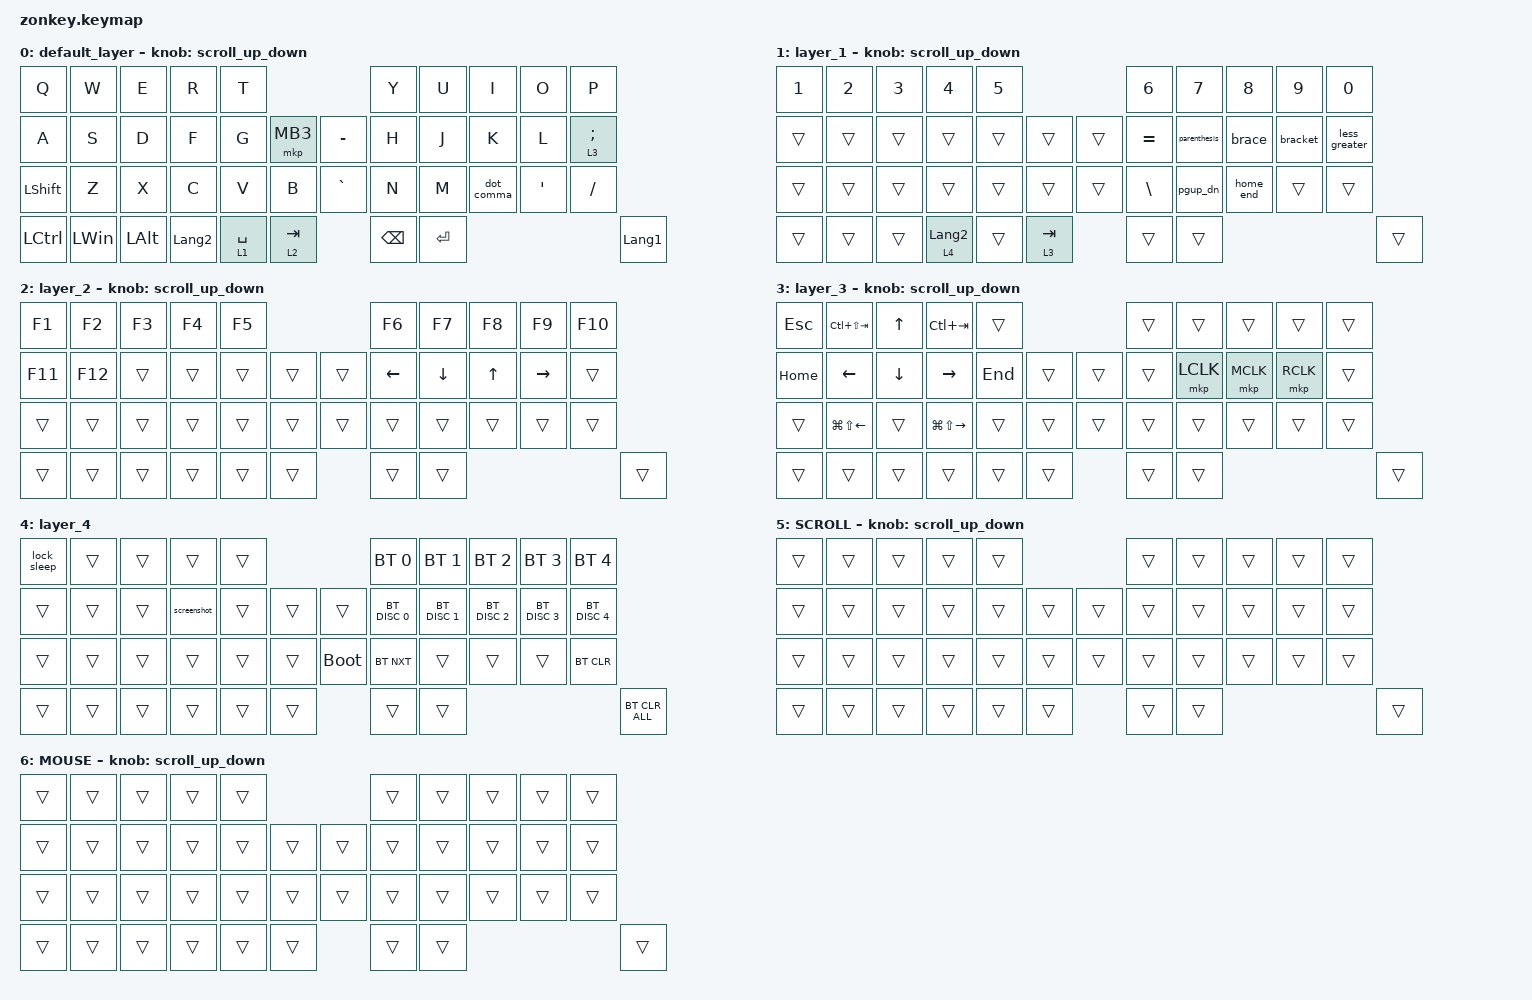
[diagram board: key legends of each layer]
#include <behaviors.dtsi>
#include <dt-bindings/zmk/bt.h>
#include <dt-bindings/zmk/keys.h>
#include <dt-bindings/zmk/pointing.h>

#define ZMK_POINTING_DEFAULT_SCRL_VAL 100
#define MOUSE 6
#define JP_DQUOTE       AT                // "
#define JP_AMPERSAND    CARET             // &
#define JP_QUOTE        AMPERSAND         // '
#define JP_EQUAL        UNDER             // =
#define JP_CARET        EQUAL             // ^
#define JP_YEN          0x89              // ¥
#define JP_PLUS         COLON             // +
#define JP_TILDE        PLUS              // ~
#define JP_PIPE         LS(0x89)          // |
#define JP_AT           LEFT_BRACKET      // @
#define JP_COLON        SINGLE_QUOTE      // :
#define JP_ASTERISK     DOUBLE_QUOTES     // *
#define JP_BACKQUOTE    LEFT_BRACE        // `
#define JP_UNDERSCORE   LS(0x87)          // _
#define JP_LBRACKET     RIGHT_BRACKET     // [
#define JP_RBRACKET     BACKSLASH         // ]
#define JP_LPAREN       ASTERISK          // (
#define JP_RPAREN       LEFT_PARENTHESIS  // )
#define JP_LBRACE       RIGHT_BRACE       // {
#define JP_RBRACE       PIPE              // }
#define JP_KANA         LANGUAGE_1        // かな
#define JP_EISU         LANGUAGE_2        // 英数
#define JP_HANZEN       GRAVE             // 半角/全角
#define JP_BSLH  INT1         // (backslash)

&mt {
    flavor = "balanced";
    quick-tap-ms = <0>;
};

/ {
    combos { compatible = "zmk,combos"; };

    macros {
        to_layer_0: to_layer_0 {
            compatible = "zmk,behavior-macro-one-param";
            #binding-cells = <1>;
            bindings = <&to 0 &macro_param_1to1 &kp MACRO_PLACEHOLDER>;
            label = "TO_LAYER_0";
        };
    };

    behaviors {
        scroll_up_down: scroll_up_down {
            compatible = "zmk,behavior-sensor-rotate";
            #sensor-binding-cells = <0>;
            bindings = <&msc SCRL_UP>, <&msc SCRL_DOWN>;

            tap-ms = <20>;
            label = "scroll_up_down";
        };

        dot_comma: dot_comma {
            compatible = "zmk,behavior-mod-morph";
            label = "DOT_COMMA";
            bindings = <&kp DOT>, <&kp COMMA>;

            #binding-cells = <0>;
            mods = <(MOD_LSFT|MOD_RSFT)>;
        };

        parenthesis: parenthesis {
            compatible = "zmk,behavior-mod-morph";
            label = "PARENTHESIS";
            bindings = <&kp LEFT_PARENTHESIS>, <&kp RIGHT_PARENTHESIS>;

            #binding-cells = <0>;
            mods = <(MOD_LSFT|MOD_RSFT)>;
        };

        brace: brace {
            compatible = "zmk,behavior-mod-morph";
            label = "BRACE";
            bindings = <&kp LEFT_BRACE>, <&kp RIGHT_BRACE>;

            #binding-cells = <0>;
            mods = <(MOD_LSFT|MOD_RSFT)>;
        };

        bracket: bracket {
            compatible = "zmk,behavior-mod-morph";
            label = "BRACKET";
            bindings = <&kp LEFT_BRACKET>, <&kp RIGHT_BRACKET>;

            #binding-cells = <0>;
            mods = <(MOD_LSFT|MOD_RSFT)>;
        };

        less_greater: less_greater {
            compatible = "zmk,behavior-mod-morph";
            label = "LESS_GREATER";
            bindings = <&kp LESS_THAN>, <&kp GREATER_THAN>;

            #binding-cells = <0>;
            mods = <(MOD_LSFT|MOD_RSFT)>;
        };

        pgup_dn: pgup_dn {
            compatible = "zmk,behavior-mod-morph";
            label = "PGUP_DN";
            bindings = <&kp PG_UP>, <&kp PG_DN>;

            #binding-cells = <0>;
            mods = <(MOD_LSFT|MOD_RSFT)>;
        };

        home_end: home_end {
            compatible = "zmk,behavior-mod-morph";
            label = "HOME_END";
            bindings = <&kp HOME>, <&kp END>;

            #binding-cells = <0>;
            mods = <(MOD_LSFT|MOD_RSFT)>;
        };

        lock_sleep: lock_sleep {
            compatible = "zmk,behavior-mod-morph";
            label = "LOCK_SLEEP";
            bindings = <&kp LG(LC(Q))>, <&kp LC(LA(INS))>;

            #binding-cells = <0>;
            mods = <(MOD_LSFT|MOD_RSFT)>;
        };

        screenshot: screenshot {
            compatible = "zmk,behavior-mod-morph";
            label = "SCREENSHOT";
            bindings = <&kp LS(LG(NUMBER_4))>, <&kp LS(LG(LC(NUMBER_4)))>;

            #binding-cells = <0>;
            mods = <(MOD_LSFT|MOD_RSFT)>;
        };
    };

    keymap {
        compatible = "zmk,keymap";

        default_layer {
            // -----------------------------------------------------------------------------------------
            // |  Q  |  W  |  E  |  R  |  T  |                        |  Y  |  U   |  I  |  O  |  P  | 
            // |  A  |  S  |  D  |  F  |  G  |LS(LG(S))|        　 | - |  H  |  J   |  K  |  L  |  `  | 
            // |SHIFT|  Z  |  X  |  C  |  V  |  B  |           | ; |  N  |  M   |  ,  |  .  |  /  | 
            // | CTRL | WIN | ALT |HENKAN|SPACE|MUHENKAN|       | BS | ENT |      　　　　       | DEL |           

            bindings = <
&kp Q           &kp W         &kp E         &kp R           &kp T                                &kp Y          &kp U      &kp I       &kp O    &kp P
&kp A           &kp S         &kp D         &kp F           &kp G        &mkp MB3     &kp MINUS  &kp H          &kp J      &kp K       &kp L    &lt 3 SEMICOLON
&kp LEFT_SHIFT  &kp Z         &kp X         &kp C           &kp V        &kp B        &kp GRAVE  &kp N          &kp M      &dot_comma  &kp SQT  &kp SLASH
&kp LCTRL       &kp LEFT_WIN  &kp LEFT_ALT  &kp LANGUAGE_2  &lt 1 SPACE  &lt 2 TAB               &kp BACKSPACE  &kp ENTER                                        &kp LANGUAGE_1
            >;

            sensor-bindings = <&scroll_up_down>;
        };

        layer_1 {
            // -----------------------------------------------------------------------------------------
            // | 半角/全角 |CAPS|     |     |     |                     |     |     |  -  |  ^  |  ¥  |
            // | TAB |     |     |     |     |     |              |    |     |     |     |  @  |  [  |
            // |SHIFT|     |     |     |     |     |            | 英数 | かな |     |     |     |  ]  |
            // | CTRL| WIN | ALT |HENKAN|SPACE|MUHENKAN|         | BS | ENT |                   | DEL |

            bindings = <
&kp N1  &kp N2  &kp N3  &kp N4            &kp N5                       &kp N6     &kp N7        &kp N8     &kp N9    &kp N0
&trans  &trans  &trans  &trans            &trans  &trans       &trans  &kp EQUAL  &parenthesis  &brace     &bracket  &less_greater
&trans  &trans  &trans  &trans            &trans  &trans       &trans  &kp BSLH   &pgup_dn      &home_end  &trans    &trans
&trans  &trans  &trans  &lt 4 LANGUAGE_2  &trans  &lt 3 TAB            &trans     &trans                                            &trans
            >;

            sensor-bindings = <&scroll_up_down>;
        };

        layer_2 {
            // -----------------------------------------------------------------------------------------
            // |  1  |  2  |  3  |  4  |  5  |                     |  6  |  7  |  8  |  9  |   0  |
            // |      |     |     |     |     |     |           |    |     |     |     |  ↑  |      |
            // |SHIFT|     |     |     |     |     |           |     |     |     |  ←  |  ↓  |  →  |
            // | CTRL| WIN | ALT |HENKAN|SPACE|MUHENKAN|         | BS | ENT |                   | DEL |

            bindings = <
&kp F1   &kp F2   &kp F3  &kp F4  &kp F5                    &kp F6    &kp F7    &kp F8  &kp F9     &kp F10
&kp F11  &kp F12  &trans  &trans  &trans  &trans    &trans  &kp LEFT  &kp DOWN  &kp UP  &kp RIGHT  &trans
&trans   &trans   &trans  &trans  &trans  &trans    &trans  &trans    &trans    &trans  &trans     &trans
&trans   &trans   &trans  &trans  &trans  &trans            &trans    &trans                                &trans
            >;

            sensor-bindings = <&scroll_up_down>;
        };

        layer_3 {
            // -----------------------------------------------------------------------------------------
            // | F1  | F2  | F3  | F4  | F5  |                     | F6  | F7 | F8  | F9 | F10 |
            // | F11 | F12 |     |     |     |     |           |    |     |     |     |     |      |
            // |SHIFT|     |     |     |     |     |           |     |     |     |     |     |      |
            // | CTRL| WIN | ALT |HENKAN|SPACE|MUHENKAN|         | BS | ENT |                   | DEL |

            bindings = <
&kp ESCAPE  &kp LC(LS(TAB))         &kp UP_ARROW    &kp LC(TAB)        &trans                     &trans  &trans     &trans     &trans     &trans
&kp HOME    &kp LEFT_ARROW          &kp DOWN_ARROW  &kp RIGHT          &kp END  &trans    &trans  &trans  &mkp LCLK  &mkp MCLK  &mkp RCLK  &trans
&trans      &kp LG(LS(LEFT_ARROW))  &trans          &kp LG(LS(RIGHT))  &trans   &trans    &trans  &trans  &trans     &trans     &trans     &trans
&trans      &trans                  &trans          &trans             &trans   &trans            &trans  &trans                                   &trans
            >;

            sensor-bindings = <&scroll_up_down>;
        };

        layer_4 {
            bindings = <
&lock_sleep  &trans  &trans  &trans       &trans                         &bt BT_SEL 0   &bt BT_SEL 1   &bt BT_SEL 2   &bt BT_SEL 3   &bt BT_SEL 4
&trans       &trans  &trans  &screenshot  &trans  &trans    &trans       &bt BT_DISC 0  &bt BT_DISC 1  &bt BT_DISC 2  &bt BT_DISC 3  &bt BT_DISC 4
&trans       &trans  &trans  &trans       &trans  &trans    &bootloader  &bt BT_NXT     &trans         &trans         &trans         &bt BT_CLR
&trans       &trans  &trans  &trans       &trans  &trans                 &trans         &trans                                                      &bt BT_CLR_ALL
            >;
        };

        SCROLL {
            // -----------------------------------------------------------------------------------------
            // |      |     |     |     |     |                     |     |     |     |     |      |
            // |      |     |     |     |     |     |           |    |     |     |     |     |      |
            // |SHIFT|     |     |     |     |     |          |     |     |     |     |     |      |
            // | CTRL| WIN | ALT |HENKAN|SPACE|MUHENKAN|        | BS | ENT |                  | DEL |

            bindings = <
&trans  &trans  &trans  &trans  &trans                    &trans  &trans  &trans  &trans  &trans
&trans  &trans  &trans  &trans  &trans  &trans    &trans  &trans  &trans  &trans  &trans  &trans
&trans  &trans  &trans  &trans  &trans  &trans    &trans  &trans  &trans  &trans  &trans  &trans
&trans  &trans  &trans  &trans  &trans  &trans            &trans  &trans                          &trans
            >;

            sensor-bindings = <&scroll_up_down>;
        };

        MOUSE {
            bindings = <
&trans  &trans  &trans  &trans  &trans                    &trans  &trans  &trans  &trans  &trans
&trans  &trans  &trans  &trans  &trans  &trans    &trans  &trans  &trans  &trans  &trans  &trans
&trans  &trans  &trans  &trans  &trans  &trans    &trans  &trans  &trans  &trans  &trans  &trans
&trans  &trans  &trans  &trans  &trans  &trans            &trans  &trans                          &trans
            >;

            sensor-bindings = <&scroll_up_down>;
        };
    };
};
